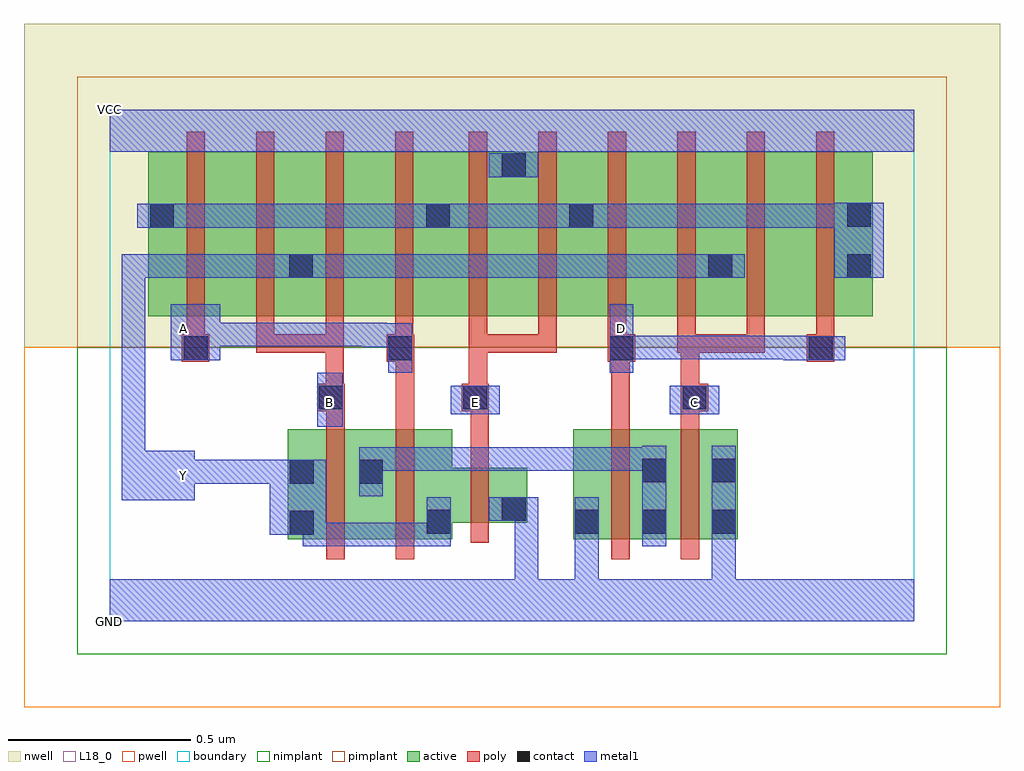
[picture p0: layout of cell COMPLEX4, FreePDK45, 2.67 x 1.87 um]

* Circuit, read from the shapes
.subckt COMPLEX4 A B C D E GND VCC Y
M1 n1 B Y VSUBS nfet w=0.3u l=0.05u
M2 Y A n1 VSUBS nfet w=0.3u l=0.05u
M3 GND E Y VSUBS nfet w=0.15u l=0.05u
M4 n1 D GND VSUBS nfet w=0.3u l=0.05u
M5 GND C n1 VSUBS nfet w=0.3u l=0.05u
M6 n2 A n3 n4 pfet w=0.45u l=0.05u
M7 Y B n2 n4 pfet w=0.45u l=0.05u
M8 n5 B Y n4 pfet w=0.45u l=0.05u
M9 n3 A n5 n4 pfet w=0.45u l=0.05u
M10 VCC E n3 n4 pfet w=0.45u l=0.05u m=2
M11 n6 D n3 n4 pfet w=0.45u l=0.05u
M12 Y C n6 n4 pfet w=0.45u l=0.05u
M13 n7 C Y n4 pfet w=0.45u l=0.05u
M14 n3 D n7 n4 pfet w=0.45u l=0.05u
.ends

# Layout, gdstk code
import gdstk
lib = gdstk.Library(unit=1e-6, precision=1e-09)
def R(c, l, rs):  # rectangles x0, y0, x1, y1
    for r in rs: c.add(gdstk.rectangle(r[:2], r[2:], *l))
def A(c, l, x, y, w, h, nx, ny, dx, dy):  # array of equal rectangles
    R(c, l, [(x+i*dx, y+j*dy, x+i*dx+w, y+j*dy+h) for i in range(nx) for j in range(ny)])
active = (1, 0)
pwell = (2, 0)
nwell = (3, 0)
nimplant = (4, 0)
pimplant = (5, 0)
poly = (9, 0)
contact = (10, 0)
metal1 = (11, 0)
L18_0 = (18, 0)
boundary = (235, 0)

complex4 = lib.new_cell('COMPLEX4')
R(complex4, active, [(0.487,0.225,0.752,0.525), (0.487,0.225,0.562,0.525), (0.677,0.225,0.937,0.525), (1.267,0.225,1.527,0.525), (1.452,0.225,1.717,0.525), (1.452,0.225,1.527,0.525), (0.862,0.235,0.937,0.31), (1.267,0.235,1.342,0.392), (1.642,0.235,1.717,0.525), (0.862,0.27,1.142,0.42), (1.067,0.27,1.142,0.345), (0.677,0.33,0.752,0.447), (0.105,0.835,0.33,1.285), (0.105,0.835,0.21,1.2), (0.33,0.835,0.56,1.285), (0.485,0.835,0.71,1.285), (0.71,0.835,0.935,1.285), (0.86,0.835,1.142,1.285), (1.067,0.835,1.327,1.285), (1.252,0.835,1.482,1.285), (1.482,0.835,1.707,1.285), (1.632,0.835,1.862,1.285), (1.632,0.835,1.707,1.07), (1.862,0.835,2.087,1.285), (2.012,0.835,2.087,1.2), (0.485,0.857,0.56,1.07), (0.86,0.857,0.935,1.2), (1.067,0.857,1.142,1.285), (1.252,0.857,1.327,1.2)])
R(complex4, pwell, [(-0.235,-0.235,2.435,0.75)])
R(complex4, nwell, [(-0.235,0.75,2.435,1.635)])
R(complex4, nimplant, [(-0.09,-0.09,2.29,0.75)])
R(complex4, pimplant, [(-0.09,0.75,2.29,1.49)])
A(complex4, poly, 0.21, 0.735, 0.05, 0.095, 4, 1, 0.19, 0)
A(complex4, poly, 0.982, 0.735, 0.05, 0.095, 6, 1, 0.19, 0)
A(complex4, poly, 0.21, 0.78, 0.05, 0.56, 4, 1, 0.19, 0)
A(complex4, poly, 0.982, 0.78, 0.05, 0.56, 6, 1, 0.19, 0)
R(complex4, poly, [(0.592,0.17,0.642,0.58), (0.782,0.17,0.832,0.58), (1.372,0.17,1.422,0.58), (1.562,0.17,1.612,0.58), (0.987,0.215,1.037,0.475), (0.987,0.425,1.037,0.625), (0.592,0.53,0.642,0.625), (0.782,0.53,0.832,0.76), (1.372,0.53,1.422,0.76), (1.562,0.53,1.612,0.625), (0.567,0.575,0.642,0.65), (0.962,0.575,1.037,0.65), (1.562,0.575,1.637,0.65), (0.59,0.6,0.64,0.785), (0.982,0.6,1.032,0.785), (1.562,0.6,1.612,0.785), (0.197,0.71,0.272,0.785), (0.757,0.71,0.832,0.785), (0.782,0.71,0.832,0.76), (0.782,0.71,0.832,0.76), (1.362,0.71,1.437,0.785), (1.372,0.71,1.422,0.76), (1.372,0.71,1.422,0.76), (1.907,0.71,1.982,0.785), (0.4,0.735,0.45,0.785), (0.4,0.735,0.45,0.785), (0.4,0.735,0.45,0.785), (0.4,0.735,0.64,0.785), (0.59,0.735,0.64,0.785), (0.982,0.735,1.032,0.785), (0.982,0.735,1.032,0.785), (0.982,0.735,1.032,0.785), (0.982,0.735,1.222,0.785), (1.172,0.735,1.222,0.785), (1.552,0.735,1.612,0.785), (1.562,0.735,1.792,0.785), (1.562,0.735,1.612,0.785), (1.562,0.735,1.612,0.785), (1.742,0.735,1.792,0.785)])
R(complex4, contact, [(0.492,0.237,0.557,0.302), (0.867,0.24,0.932,0.305), (1.272,0.24,1.337,0.305), (1.457,0.24,1.522,0.305), (1.647,0.24,1.712,0.305), (1.072,0.275,1.137,0.34), (0.492,0.377,0.557,0.442), (0.682,0.377,0.747,0.442), (1.457,0.38,1.522,0.445), (1.647,0.38,1.712,0.445), (0.572,0.58,0.637,0.645), (0.967,0.58,1.032,0.645), (1.567,0.58,1.632,0.645), (0.202,0.715,0.267,0.78), (0.762,0.715,0.827,0.78), (1.367,0.715,1.432,0.78), (1.912,0.715,1.977,0.78), (0.49,0.94,0.555,1.005), (1.637,0.94,1.702,1.005), (2.017,0.94,2.082,1.005), (0.11,1.077,0.175,1.142), (0.865,1.077,0.93,1.142), (1.257,1.077,1.322,1.142), (2.017,1.08,2.082,1.145), (1.072,1.215,1.137,1.28)])
R(complex4, metal1, [(0,0,2.2,0.115), (1.107,0.05,1.172,0.115), (1.107,0.05,1.172,0.115), (1.107,0.05,1.172,0.115), (1.107,0.05,1.172,0.115), (1.107,0.05,1.172,0.34), (1.272,0.05,1.337,0.115), (1.272,0.05,1.337,0.115), (1.272,0.05,1.337,0.27), (1.647,0.05,1.712,0.27), (0.527,0.205,0.592,0.302), (0.527,0.205,0.605,0.27), (0.54,0.205,0.605,0.27), (0.54,0.205,0.605,0.27), (0.54,0.205,0.757,0.27), (0.692,0.205,0.757,0.27), (0.692,0.205,0.757,0.27), (0.692,0.205,0.757,0.27), (0.692,0.205,0.932,0.27), (0.867,0.205,0.932,0.34), (1.272,0.205,1.337,0.34), (1.457,0.205,1.522,0.48), (1.647,0.205,1.712,0.27), (1.647,0.205,1.712,0.27), (1.647,0.205,1.712,0.48), (0.437,0.237,0.592,0.442), (1.037,0.275,1.172,0.34), (0.032,0.332,0.232,0.467), (0.682,0.342,0.747,0.477), (0.167,0.377,0.232,0.442), (0.167,0.377,0.232,0.442), (0.167,0.377,0.367,0.442), (0.302,0.377,0.367,0.442), (0.302,0.377,0.44,0.442), (0.375,0.377,0.44,0.442), (0.375,0.377,0.502,0.442), (0.437,0.377,0.502,0.442), (0.437,0.377,0.502,0.442), (0.032,0.402,0.097,0.467), (0.032,0.402,0.097,0.467), (0.032,0.402,0.097,1.005), (0.682,0.412,0.747,0.477), (0.682,0.412,0.747,0.477), (0.682,0.412,0.895,0.477), (0.83,0.412,0.895,0.477), (0.83,0.412,0.895,0.477), (0.83,0.412,0.895,0.477), (0.83,0.412,1.102,0.477), (1.037,0.412,1.102,0.477), (1.037,0.412,1.2,0.477), (1.135,0.412,1.2,0.477), (1.135,0.412,1.357,0.477), (1.292,0.412,1.357,0.477), (1.292,0.412,1.357,0.477), (1.292,0.412,1.357,0.477), (1.292,0.412,1.522,0.477), (0.567,0.532,0.637,0.68), (0.932,0.567,1.067,0.645), (1.532,0.567,1.667,0.645), (0.762,0.68,0.827,0.815), (1.367,0.68,1.432,0.867), (0.167,0.715,0.302,0.867), (1.842,0.715,1.942,0.78), (1.842,0.715,1.907,0.782), (1.877,0.715,2.012,0.78), (1.367,0.717,1.495,0.782), (1.43,0.717,1.495,0.782), (1.43,0.717,1.632,0.782), (1.567,0.717,1.632,0.782), (1.567,0.717,1.632,0.782), (1.567,0.717,1.632,0.782), (1.567,0.717,1.805,0.782), (1.74,0.717,1.805,0.782), (1.74,0.717,1.907,0.782), (0.692,0.75,0.827,0.815), (0.692,0.75,0.757,0.817), (0.237,0.752,0.367,0.817), (0.302,0.752,0.367,0.817), (0.302,0.752,0.467,0.817), (0.402,0.752,0.467,0.817), (0.402,0.752,0.605,0.817), (0.54,0.752,0.605,0.817), (0.54,0.752,0.605,0.817), (0.54,0.752,0.605,0.817), (0.54,0.752,0.757,0.817), (0.032,0.94,0.097,1.005), (0.032,0.94,0.097,1.005), (0.032,0.94,0.097,1.005), (0.032,0.94,0.367,1.005), (0.302,0.94,0.367,1.005), (0.302,0.94,0.467,1.005), (0.402,0.94,0.467,1.005), (0.402,0.94,0.52,1.005), (0.455,0.94,0.59,1.005), (0.525,0.94,0.605,1.005), (0.54,0.94,0.605,1.005), (0.54,0.94,0.757,1.005), (0.692,0.94,0.757,1.005), (0.692,0.94,0.757,1.005), (0.692,0.94,0.757,1.005), (0.692,0.94,0.895,1.005), (0.83,0.94,0.895,1.005), (0.83,0.94,0.895,1.005), (0.83,0.94,0.895,1.005), (0.83,0.94,1.15,1.005), (1.085,0.94,1.15,1.005), (1.085,0.94,1.15,1.005), (1.085,0.94,1.15,1.005), (1.085,0.94,1.287,1.005), (1.222,0.94,1.287,1.005), (1.222,0.94,1.357,1.005), (1.292,0.94,1.357,1.005), (1.292,0.94,1.495,1.005), (1.43,0.94,1.495,1.005), (1.43,0.94,1.57,1.005), (1.505,0.94,1.57,1.005), (1.505,0.94,1.667,1.005), (1.602,0.94,1.737,1.005), (1.982,0.94,2.117,1.145), (0.075,1.077,0.21,1.142), (0.145,1.077,0.21,1.142), (0.145,1.077,0.21,1.142), (0.145,1.077,0.367,1.142), (0.302,1.077,0.367,1.142), (0.302,1.077,0.467,1.142), (0.402,1.077,0.467,1.142), (0.402,1.077,0.605,1.142), (0.54,1.077,0.605,1.142), (0.54,1.077,0.605,1.142), (0.54,1.077,0.605,1.142), (0.54,1.077,0.742,1.142), (0.677,1.077,0.742,1.142), (0.677,1.077,0.742,1.142), (0.677,1.077,0.742,1.142), (0.677,1.077,0.895,1.142), (0.83,1.077,0.965,1.142), (0.9,1.077,0.965,1.142), (0.9,1.077,0.965,1.142), (0.9,1.077,1.102,1.142), (1.037,1.077,1.102,1.142), (1.037,1.077,1.22,1.142), (1.155,1.077,1.22,1.142), (1.155,1.077,1.287,1.142), (1.222,1.077,1.357,1.142), (1.292,1.077,1.357,1.142), (1.292,1.077,1.357,1.142), (1.292,1.077,1.495,1.142), (1.43,1.077,1.495,1.142), (1.43,1.077,1.632,1.142), (1.567,1.077,1.632,1.142), (1.567,1.077,1.77,1.142), (1.705,1.077,1.77,1.142), (1.705,1.077,1.77,1.142), (1.705,1.077,1.77,1.142), (1.705,1.077,1.907,1.142), (1.842,1.077,1.907,1.142), (1.842,1.077,1.907,1.142), (1.842,1.077,1.907,1.142), (1.842,1.077,2.047,1.142), (1.982,1.077,2.047,1.142), (1.982,1.077,2.047,1.142), (1.037,1.215,1.172,1.28), (1.107,1.215,1.172,1.35), (0,1.285,2.2,1.4)])
R(complex4, L18_0, [(0,0,2.2,0.115), (1.107,0.05,1.172,0.115), (1.107,0.05,1.172,0.115), (1.107,0.05,1.172,0.115), (1.107,0.05,1.172,0.115), (1.107,0.05,1.172,0.34), (1.272,0.05,1.337,0.115), (1.272,0.05,1.337,0.115), (1.272,0.05,1.337,0.27), (1.647,0.05,1.712,0.27), (0.527,0.205,0.605,0.27), (0.527,0.205,0.592,0.302), (0.54,0.205,0.605,0.27), (0.54,0.205,0.605,0.27), (0.54,0.205,0.757,0.27), (0.692,0.205,0.757,0.27), (0.692,0.205,0.757,0.27), (0.692,0.205,0.757,0.27), (0.692,0.205,0.932,0.27), (0.867,0.205,0.932,0.34), (1.272,0.205,1.337,0.34), (1.647,0.205,1.712,0.27), (1.647,0.205,1.712,0.27), (1.647,0.205,1.712,0.48), (0.437,0.237,0.592,0.442), (1.037,0.275,1.172,0.34), (0.032,0.332,0.232,0.467), (0.167,0.367,0.232,0.432), (0.167,0.377,0.232,0.442), (0.167,0.377,0.232,0.442), (0.167,0.377,0.367,0.442), (0.302,0.377,0.367,0.442), (0.302,0.377,0.44,0.442), (0.375,0.377,0.44,0.442), (0.375,0.377,0.502,0.442), (0.437,0.377,0.502,0.442), (0.437,0.377,0.502,0.442), (0.032,0.402,0.097,0.467), (0.032,0.402,0.097,0.467), (0.032,0.402,0.097,1.005), (0.567,0.532,0.637,0.68), (0.567,0.567,0.632,0.632), (0.932,0.567,1.067,0.645), (0.967,0.567,1.032,0.632), (1.532,0.567,1.667,0.645), (1.567,0.567,1.632,0.632), (0.762,0.68,0.827,0.815), (1.367,0.68,1.432,0.867), (0.167,0.715,0.302,0.867), (1.842,0.715,1.907,0.782), (1.842,0.715,1.942,0.78), (1.877,0.715,2.012,0.78), (1.367,0.717,1.495,0.782), (1.43,0.717,1.495,0.782), (1.43,0.717,1.632,0.782), (1.567,0.717,1.632,0.782), (1.567,0.717,1.632,0.782), (1.567,0.717,1.632,0.782), (1.567,0.717,1.805,0.782), (1.74,0.717,1.805,0.782), (1.74,0.717,1.907,0.782), (0.692,0.75,0.827,0.815), (0.692,0.75,0.757,0.817), (0.237,0.752,0.367,0.817), (0.302,0.752,0.367,0.817), (0.302,0.752,0.467,0.817), (0.402,0.752,0.467,0.817), (0.402,0.752,0.605,0.817), (0.54,0.752,0.605,0.817), (0.54,0.752,0.605,0.817), (0.54,0.752,0.605,0.817), (0.54,0.752,0.757,0.817), (0.167,0.767,0.232,0.832), (1.367,0.767,1.432,0.832), (0.032,0.94,0.097,1.005), (0.032,0.94,0.097,1.005), (0.032,0.94,0.097,1.005), (0.032,0.94,0.367,1.005), (0.302,0.94,0.367,1.005), (0.302,0.94,0.467,1.005), (0.402,0.94,0.467,1.005), (0.402,0.94,0.52,1.005), (0.455,0.94,0.59,1.005), (0.525,0.94,0.605,1.005), (0.54,0.94,0.605,1.005), (0.54,0.94,0.757,1.005), (0.692,0.94,0.757,1.005), (0.692,0.94,0.757,1.005), (0.692,0.94,0.757,1.005), (0.692,0.94,0.895,1.005), (0.83,0.94,0.895,1.005), (0.83,0.94,0.895,1.005), (0.83,0.94,0.895,1.005), (0.83,0.94,1.15,1.005), (1.085,0.94,1.15,1.005), (1.085,0.94,1.15,1.005), (1.085,0.94,1.15,1.005), (1.085,0.94,1.287,1.005), (1.222,0.94,1.287,1.005), (1.222,0.94,1.357,1.005), (1.292,0.94,1.357,1.005), (1.292,0.94,1.495,1.005), (1.43,0.94,1.495,1.005), (1.43,0.94,1.57,1.005), (1.505,0.94,1.57,1.005), (1.505,0.94,1.667,1.005), (1.602,0.94,1.737,1.005), (1.037,1.215,1.172,1.28), (1.107,1.215,1.172,1.35), (0,1.285,2.2,1.4)])
R(complex4, boundary, [(0,0,2.2,1.4)])
complex4.add(gdstk.Label('A', (0.2,0.8), layer=11, texttype=0))
complex4.add(gdstk.Label('B', (0.6,0.6), layer=11, texttype=0))
complex4.add(gdstk.Label('C', (1.6,0.6), layer=11, texttype=0))
complex4.add(gdstk.Label('D', (1.4,0.8), layer=11, texttype=0))
complex4.add(gdstk.Label('E', (1,0.6), layer=11, texttype=0))
complex4.add(gdstk.Label('Y', (0.2,0.4), layer=11, texttype=0))
complex4.add(gdstk.Label('VCC', (0,1.4), layer=11, texttype=0))
complex4.add(gdstk.Label('GND', (0,0), layer=11, texttype=0))

lib.write_gds('COMPLEX4.gds')
